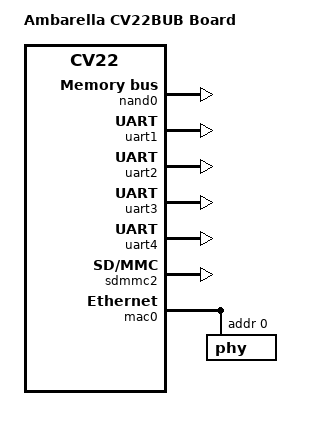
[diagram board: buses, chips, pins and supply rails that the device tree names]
/*
 * Copyright (C) 2013 Ambarella,Inc. - http://www.ambarella.com/
 * Author: Cao Rongrong <rrcao@ambarella.com>
 *
 * This program is free software; you can redistribute it and/or modify
 * it under the terms of the GNU General Public License version 2 as
 * published by the Free Software Foundation.
 */
/dts-v1/;

/include/ "ambarella-cv22-ambalink.dtsi"

/ {
	model = "Ambarella CV22BUB Board";
	compatible = "ambarella,cv22bub", "ambarella,cv22";

	chosen {
	};

	firmware {
		optee {
			compatible = "linaro,optee-tz";
			method = "smc";
		};
	};

	n_apb@e4000000 { /* Non-Secure APB, but configurable */
		uart0: uart@e4000000 {
			status = "disabled";
		};

	};

	s_apb@ec000000 { /* Secure APB, but configurable */
		pinctrl: pinctrl@0xec003000 {
			can0_pins: can@0 {
				reg = <0>;
				/* GPIO 154 alt 1, GPIO 155 alt 1 */
				amb,pinmux-ids = <0x109a 0x109b>;
			};
		};
	};

	n_ahb@e0000000 { /* Non-Secure AHB, but configurable */
		dma0: dma@e0020000 {
			/* amb,dma-startchannel = <2>; */ /* Prevent conflict between RTOS. */
			status = "disabled";
		};

		dma1: dma@e0021000 {
			/* amb,dma-startchannel = <2>; */ /* Prevent conflict between RTOS. */
			status = "disabled";
		};

		nand0: nand@e0002000 {
			status = "ok";
		};

		uart1: uart@e0017000 {
			pinctrl-0 = <&uart1_pins &uart1_flow_pins>;
			/*/delete-property/amb,msr-used;*/
			/*amb,txdma-used;*/
			/*amb,rxdma-used;*/
			/*dmas = <&dma0 9>, <&dma0 10>;*/
			/*dma-names = "tx", "rx";*/
			status = "ok";
		};

		uart2: uart@e0018000 {
			pinctrl-0 = <&uart2_pins &uart2_flow_pins>;
			/*/delete-property/amb,msr-used;*/
			/*amb,txdma-used;*/
			/*amb,rxdma-used;*/
			/*dmas = <&dma1 13>, <&dma1 14>;*/
			/*dma-names = "tx", "rx";*/
			status = "ok";
		};

		uart3: uart@e0019000 {
			pinctrl-0 = <&uart3_pins &uart3_flow_pins>;
			/*/delete-property/amb,msr-used;*/
			/*amb,txdma-used;*/
			/*amb,rxdma-used;*/
			/*dmas = <&dma1 15>, <&dma1 16>;*/
			/*dma-names = "tx", "rx";*/
			status = "ok";
		};

		uart4: uart@e001a000 {
			pinctrl-0 = <&uart4_pins &uart4_flow_pins>;
			/*/delete-property/amb,msr-used;*/
			/*amb,txdma-used;*/
			/*amb,rxdma-used;*/
			/*dmas = <&dma1 17>, <&dma1 18>;*/
			/*dma-names = "tx", "rx";*/
			status = "ok";
		};

		sdmmc0: sdmmc0@e0004000 {
			/*pwr-gpios = <&gpio 109 0x1>;*/
			/*v18-gpios = <&gpio 156 0x1>;*/
			status = "disabled";
		};

		sdmmc2: sdmmc2@e0005000 { /* SDXC rather than SDIO */
			/*pwr-gpios = <&gpio 110 0x1>;*/
			/*v18-gpios = <&gpio 157 0x1>;*/
			keep-power-in-suspend;
			no-1-8-v;
			max-frequency = <50000000>;
			status = "ok";
		};

		mac0: ethernet@e000e000 {
			amb,tx-clk-invert;
			/*pinctrl-0 = <&rgmii_pins &ahb_mdio_pins>;*/
			/*amb,ahb_mdio_bus;*/
			/*amb,ahb-12mhz-div = <1>;*/
			phy@0 {
				reg = <0>;
			};
		};

		/*
		mac0: ethernet@e000e000 {
			device_type 	= "network";
			compatible	= "st,stih416-dwmac", "snps,dwmac", "snps,dwmac-3.710";
			status 		= "ok";
			reg		= <0xe000e000 0x8000>;
			reg-names	= "stmmaceth";
			interrupts = <0 58 0x4>;
			interrupt-names = "macirq";
			snps,pbl 	= <32>;
			snps,mixed-burst;
			snps,scr-regmap = <&scratchpad_syscon>;
			phy-handle = <&ethernet_phy>;
			mdio {
				compatible = "snps,dwmac-mdio";
				ethernet_phy: ethernet-phy@0 {
					reg = <0>;
					compatible = "ethernet-phy-id0007.0570";
				};
			};
		};
		*/

		spi0: spi@e0011000 {
			cs-gpios = <&gpio 25 0>;
		};
	};

	s_ahb@e8000000 { /* Secure AHB, but configurable */
		rtc@e8001000 {
			status = "ok";
		};

		rng@e8001000 {
		};

		can0: can@e8004000 {
			compatible = "ambarella,can";
			reg = <0xe8004000 0x1000>;
			interrupts = <0 86 0x4>;
			pinctrl-names = "default";
			pinctrl-0 = <&can0_pins>;
			clocks = <&gclk_can>;
			status = "disabled";
		};
	};

	rct@ed080000 {
		usbphy: usbphy@ed080050 {
			/* high will trigger the ocp interrupt */
			amb,ocp-polarity = <0>;
			pinctrl-names = "default";
			pinctrl-0 = <&usb_host0_pins_a>;
		};
	};

	clocks {
		gclk_can: gclk-can {
			#clock-cells = <0>;
			compatible = "ambarella,div-clock";
			reg = <0xed080570 4>;
			clocks = <&osc>;
			/*compatible = "ambarella,composite-clock";*/
			/*reg = <0xed080570 4>, <0xed08056c 4>;*/
			/*clocks = <&osc>, <&pll_out_enet>, <&gclk_ahb>;*/
			clock-output-names = "gclk_can";
			amb,div-width = <24>;
			amb,div-shift = <0>;
		};
	};

	/* for profiling, see aipc_profile.c */
	profile_timer {
		compatible = "ambarella,timer19";
		reg = <0xe4006088 0x4>;
	};

	ambalink {
		compatible = "simple-bus";
		#address-cells = <1>;
		#size-cells = <1>;

		aipc_mutex: ambarella-ipc-mutex {
			compatible = "ambarella,ipc-mutex";
			interrupts = <0 96 0x4>;
			amb,scr-regmap = <&scratchpad_syscon>;
		};

		/* must be consistent with ambalink_cfg.h */
		rproc0: ambarella-rproc {
			compatible = "ambarella,rproc";
			interrupts = <0 91 0x4>,	/* rvq_rx_irq, get rvq kick from rtos */
				     <0 92 0x4>;	/* svq_rx_irq, get svq ack from rtos */
			amb,scr-regmap = <&scratchpad_syscon>;
		};

		/* For RTOS as Master/Host, Linux as Client/Remote */
		rpclnt0: ambarella-rpclnt {
			compatible = "ambarella,rpclnt";
			interrupts = <0 91 0x4>,	/* rvq_rx_irq, get rvq kick from rtos */
				     <0 92 0x4>;	/* svq_rx_irq, get svq ack from rtos */
			amb,svq_kick = <93>;		/* svq_tx, C1_to_C0_kick */
			amb,rvq_ack  = <94>;		/* rvq_tx, C1_to_C0 ack */
			amb,scr-regmap = <&scratchpad_syscon>;
		};
	};
};
